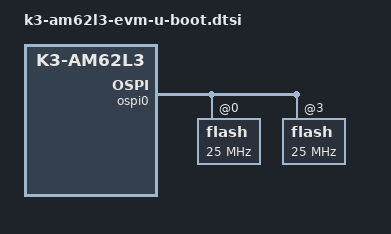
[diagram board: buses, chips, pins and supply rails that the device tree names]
// SPDX-License-Identifier: GPL-2.0
/*
 * Copyright (C) 2024 Texas Instruments Incorporated - https://www.ti.com/
 */

#include "k3-am62l3-evm-binman.dtsi"

/ {
	aliases {
		mmc1 = &sdhci1;
	};
};

&scmi {
	bootph-all;
};

&ospi0 {
	flash@0 {
		spi-max-frequency = <25000000>;
	};

	flash@3 {
		spi-max-frequency = <25000000>;
	};
};

&cbass_main {
	system-controller {
		compatible = "ti,am62l-sci";
		ti,host-id = <12>;
		bootph-all;
	};
};
